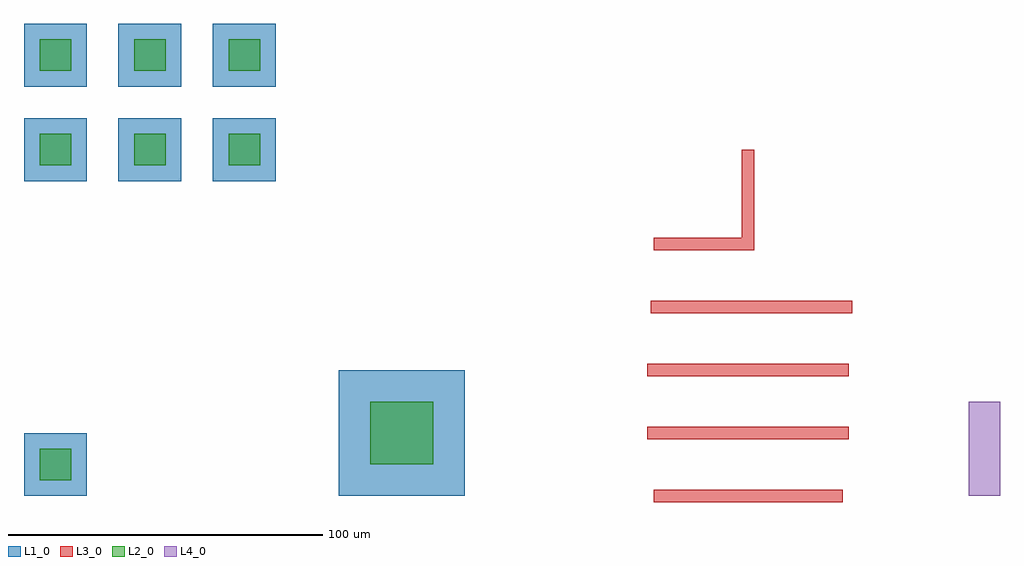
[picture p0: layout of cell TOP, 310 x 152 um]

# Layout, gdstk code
from math import pi, radians
import gdstk
lib = gdstk.Library(unit=1e-6, precision=1e-09)
def R(c, l, rs):  # rectangles x0, y0, x1, y1
    for r in rs: c.add(gdstk.rectangle(r[:2], r[2:], *l))
L1_0 = (1, 0)
L2_0 = (2, 0)
L3_0 = (3, 0)
L4_0 = (4, 0)

pad = lib.new_cell('PAD')
R(pad, L1_0, [(0,0,20,20)])
R(pad, L2_0, [(5,5,15,15)])

top = lib.new_cell('TOP')
R(top, L4_0, [(300,0,310,30)])
top.add(gdstk.FlexPath([(200,0),(260,0)], 4, ends="flush", simple_path=True, layer=3, datatype=0))  # L3_0
top.add(gdstk.FlexPath([(200,20),(260,20)], 4, ends="round", simple_path=True, layer=3, datatype=0))  # L3_0
top.add(gdstk.FlexPath([(200,40),(260,40)], 4, ends="extended", simple_path=True, layer=3, datatype=0))  # L3_0
top.add(gdstk.FlexPath([(200,60),(260,60)], 4, ends=(1, 3), simple_path=True, layer=3, datatype=0))  # L3_0
top.add(gdstk.FlexPath([(200,80),(230,80),(230,110)], 4, ends="flush", simple_path=True, layer=3, datatype=0))  # L3_0
top.add(gdstk.Reference(pad, (0,0)))
top.add(gdstk.Reference(pad, (100,0), rotation=pi/2, magnification=2, x_reflection=True))
r = gdstk.Reference(pad, (0,100)); r.repetition = gdstk.Repetition(3, 2, v1=(30,0), v2=(0,30)); top.add(r)
top.add(gdstk.Label('LVP', (0,200), layer=5, texttype=0))

lib.write_gds('TOP.gds')
